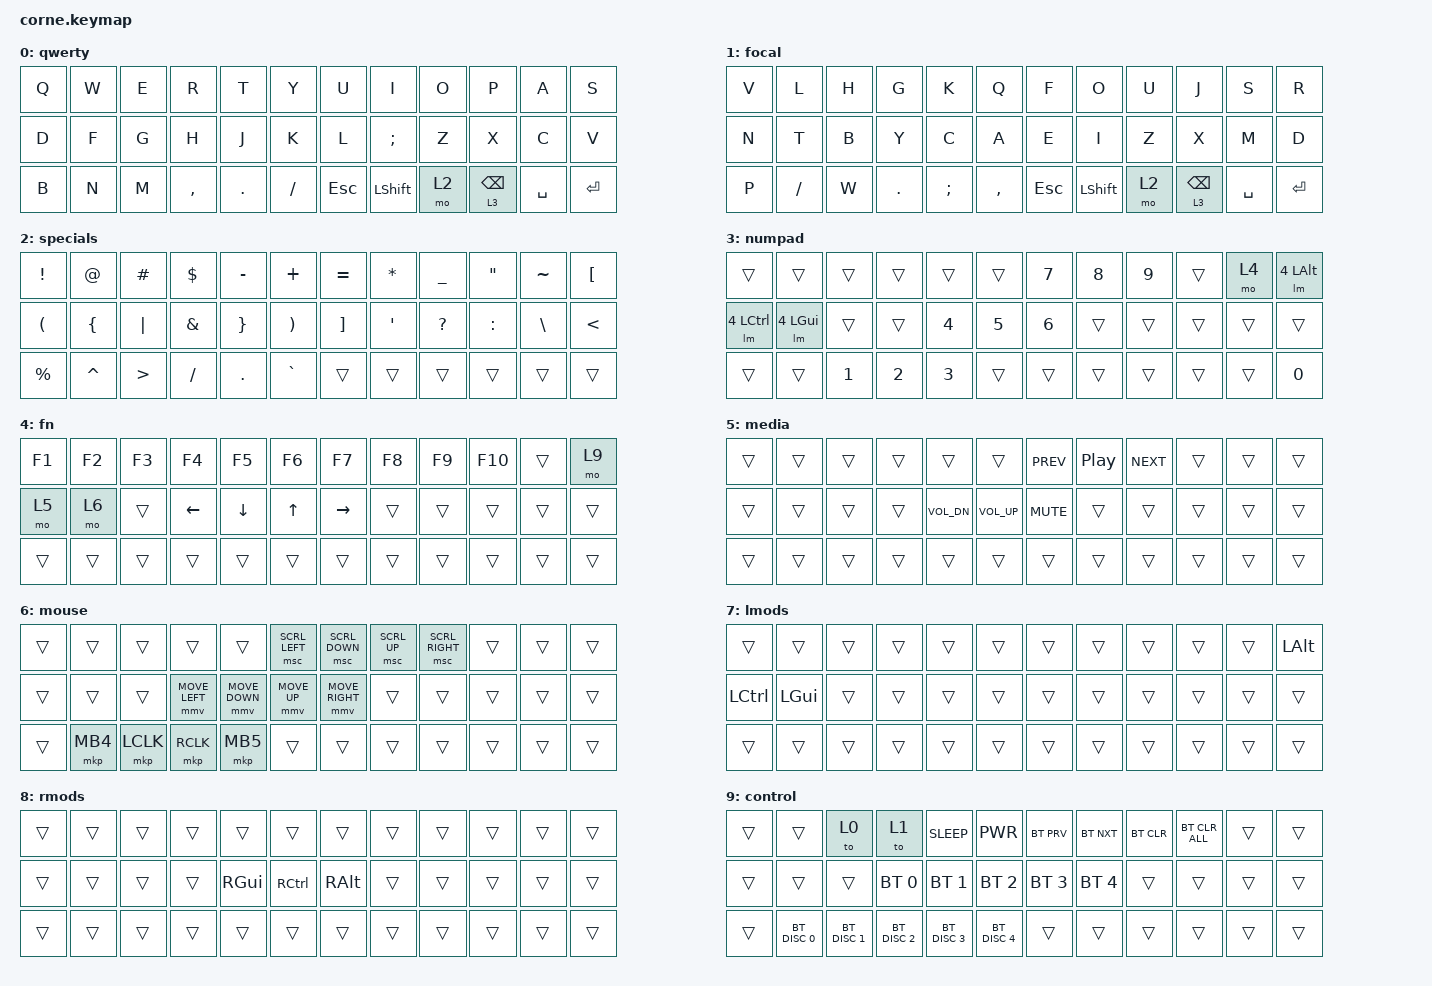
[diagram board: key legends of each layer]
/*
 * Copyright (c) 2020 The ZMK Contributors
 *
 * SPDX-License-Identifier: MIT
 */

#define ZMK_POINTING_DEFAULT_MOVE_VAL 1500
#define ZMK_POINTING_DEFAULT_SCRL_VAL 20

#include <behaviors.dtsi>
#include <dt-bindings/zmk/bt.h>
#include <dt-bindings/zmk/keys.h>
#include <dt-bindings/zmk/pointing.h>

&lt {
    flavor = "hold-preferred";
    quick-tap-ms = <175>;
};

/ {
    chosen { zmk,matrix-transform = &five_column_transform; };

    combos {
        compatible = "zmk,combos";

        tab {
            bindings = <&kp TAB>;
            key-positions = <16 17 18>;
            timeout-ms = <75>;
        };

        bspc {
            bindings = <&kp BSPC>;
            key-positions = <26 28 27>;
            timeout-ms = <75>;
        };

        lalt {
            bindings = <&kp LALT>;
            key-positions = <1 11>;
            timeout-ms = <50>;
            slow-release;
        };

        lctl {
            bindings = <&kp LCTRL>;
            key-positions = <2 12>;
            timeout-ms = <50>;
            slow-release;
        };

        lgui {
            bindings = <&kp LGUI>;
            key-positions = <3 13>;
            timeout-ms = <50>;
            slow-release;
        };

        ralt {
            bindings = <&kp LALT>;
            key-positions = <8 18>;
            slow-release;
            timeout-ms = <50>;
        };

        rctl {
            bindings = <&kp LCTRL>;
            key-positions = <7 17>;
            timeout-ms = <50>;
            slow-release;
        };

        rgui {
            bindings = <&kp LGUI>;
            key-positions = <6 16>;
            slow-release;
            timeout-ms = <50>;
        };

        undo {
            bindings = <&kp LG(Z)>;
            key-positions = <20 24>;
            timeout-ms = <25>;
        };

        cut {
            bindings = <&kp LG(X)>;
            key-positions = <24 21>;
            timeout-ms = <25>;
        };

        copy {
            bindings = <&kp LG(C)>;
            key-positions = <24 22>;
            timeout-ms = <20>;
        };

        paste {
            bindings = <&kp LG(V)>;
            key-positions = <23 24>;
            timeout-ms = <15>;
        };

        lmods {
            bindings = <&mo 7>;
            key-positions = <32 31>;
        };

        rmods {
            bindings = <&mo 8>;
            key-positions = <33 34>;
        };
    };

    macros {
        lm: lm {
            compatible = "zmk,behavior-macro-two-param";
            #binding-cells = <2>;
            bindings =
                <&macro_param_1to1>,
                <&macro_press>,
                <&mo MACRO_PLACEHOLDER &macro_param_2to1>,
                <&macro_press>,
                <&kp MACRO_PLACEHOLDER>,
                <&macro_pause_for_release>,
                <&macro_param_2to1>,
                <&macro_release>,
                <&kp MACRO_PLACEHOLDER &macro_param_1to1>,
                <&macro_release>,
                <&mo MACRO_PLACEHOLDER>;

            label = "LM";
        };
    };

    keymap {
        compatible = "zmk,keymap";

        qwerty {
            display-name = "qwerty";
            bindings = <
&kp Q  &kp W  &kp E  &kp R      &kp T    &kp Y       &kp U       &kp I      &kp O  &kp P       &kp A      &kp S
&kp D  &kp F  &kp G  &kp H      &kp J    &kp K       &kp L       &kp SEMI   &kp Z  &kp X       &kp C      &kp V
&kp B  &kp N  &kp M  &kp COMMA  &kp DOT  &kp FSLH    &kp ESCAPE  &kp LSHFT  &mo 2  &lt 3 BSPC  &kp SPACE  &kp ENTER
            >;
        };

        focal {
            display-name = "focal";
            bindings = <
&kp V  &kp L     &kp H  &kp G    &kp K     &kp Q        &kp F       &kp O      &kp U  &kp J       &kp S      &kp R
&kp N  &kp T     &kp B  &kp Y    &kp C     &kp A        &kp E       &kp I      &kp Z  &kp X       &kp M      &kp D
&kp P  &kp FSLH  &kp W  &kp DOT  &kp SEMI  &kp COMMA    &kp ESCAPE  &kp LSHFT  &mo 2  &lt 3 BSPC  &kp SPACE  &kp ENTER
            >;
        };

        specials {
            display-name = "specials";
            bindings = <
&kp EXCL     &kp AT_SIGN     &kp POUND         &kp DOLLAR  &kp MINUS  &kp PLUS     &kp EQUAL          &kp ASTERISK      &kp UNDER     &kp DOUBLE_QUOTES  &kp TILDE      &kp LBKT
&kp LPAR     &kp LEFT_BRACE  &kp PIPE          &kp AMPS    &kp RBRC   &kp RPAR     &kp RIGHT_BRACKET  &kp SINGLE_QUOTE  &kp QUESTION  &kp COLON          &kp BACKSLASH  &kp LESS_THAN
&kp PERCENT  &kp CARET       &kp GREATER_THAN  &kp SLASH   &kp DOT    &kp GRAVE    &trans             &trans            &trans        &trans             &trans         &trans
            >;
        };

        numpad {
            display-name = "numpad";
            bindings = <
&trans       &trans      &trans  &trans  &trans  &trans    &kp N7  &kp N8  &kp N9  &trans  &mo 4   &lm 4 LALT
&lm 4 LCTRL  &lm 4 LGUI  &trans  &trans  &kp N4  &kp N5    &kp N6  &trans  &trans  &trans  &trans  &trans
&trans       &trans      &kp N1  &kp N2  &kp N3  &trans    &trans  &trans  &trans  &trans  &trans  &kp N0
            >;
        };

        fn {
            display-name = "fn";
            bindings = <
&kp F1  &kp F2  &kp F3  &kp F4    &kp F5    &kp F6    &kp F7     &kp F8  &kp F9  &kp F10  &trans  &mo 9
&mo 5   &mo 6   &trans  &kp LEFT  &kp DOWN  &kp UP    &kp RIGHT  &trans  &trans  &trans   &trans  &trans
&trans  &trans  &trans  &trans    &trans    &trans    &trans     &trans  &trans  &trans   &trans  &trans
            >;
        };

        media {
            display-name = "media";
            bindings = <
&trans  &trans  &trans  &trans  &trans        &trans          &kp C_PREV  &kp C_PLAY_PAUSE  &kp C_NEXT  &trans  &trans  &trans
&trans  &trans  &trans  &trans  &kp C_VOL_DN  &kp C_VOL_UP    &kp C_MUTE  &trans            &trans      &trans  &trans  &trans
&trans  &trans  &trans  &trans  &trans        &trans          &trans      &trans            &trans      &trans  &trans  &trans
            >;
        };

        mouse {
            display-name = "mouse";
            bindings = <
&trans  &trans    &trans     &trans          &trans          &msc SCRL_LEFT    &msc SCRL_DOWN   &msc SCRL_UP  &msc SCRL_RIGHT  &trans  &trans  &trans
&trans  &trans    &trans     &mmv MOVE_LEFT  &mmv MOVE_DOWN  &mmv MOVE_UP      &mmv MOVE_RIGHT  &trans        &trans           &trans  &trans  &trans
&trans  &mkp MB4  &mkp LCLK  &mkp RCLK       &mkp MB5        &trans            &trans           &trans        &trans           &trans  &trans  &trans
            >;
        };

        lmods {
            bindings = <
&trans     &trans    &trans  &trans  &trans  &trans    &trans  &trans  &trans  &trans  &trans  &kp LALT
&kp LCTRL  &kp LGUI  &trans  &trans  &trans  &trans    &trans  &trans  &trans  &trans  &trans  &trans
&trans     &trans    &trans  &trans  &trans  &trans    &trans  &trans  &trans  &trans  &trans  &trans
            >;

            label = "lmods";
        };

        rmods {
            bindings = <
&trans  &trans  &trans  &trans  &trans    &trans       &trans    &trans  &trans  &trans  &trans  &trans
&trans  &trans  &trans  &trans  &kp RGUI  &kp RCTRL    &kp RALT  &trans  &trans  &trans  &trans  &trans
&trans  &trans  &trans  &trans  &trans    &trans       &trans    &trans  &trans  &trans  &trans  &trans
            >;

            label = "rmods";
        };

        control {
            display-name = "control";
            bindings = <
&trans  &trans         &to 0          &to 1          &kp C_SLEEP    &kp C_PWR        &bt BT_PRV    &bt BT_NXT    &bt BT_CLR  &bt BT_CLR_ALL  &trans  &trans
&trans  &trans         &trans         &bt BT_SEL 0   &bt BT_SEL 1   &bt BT_SEL 2     &bt BT_SEL 3  &bt BT_SEL 4  &trans      &trans          &trans  &trans
&trans  &bt BT_DISC 0  &bt BT_DISC 1  &bt BT_DISC 2  &bt BT_DISC 3  &bt BT_DISC 4    &trans        &trans        &trans      &trans          &trans  &trans
            >;
        };
    };
};
